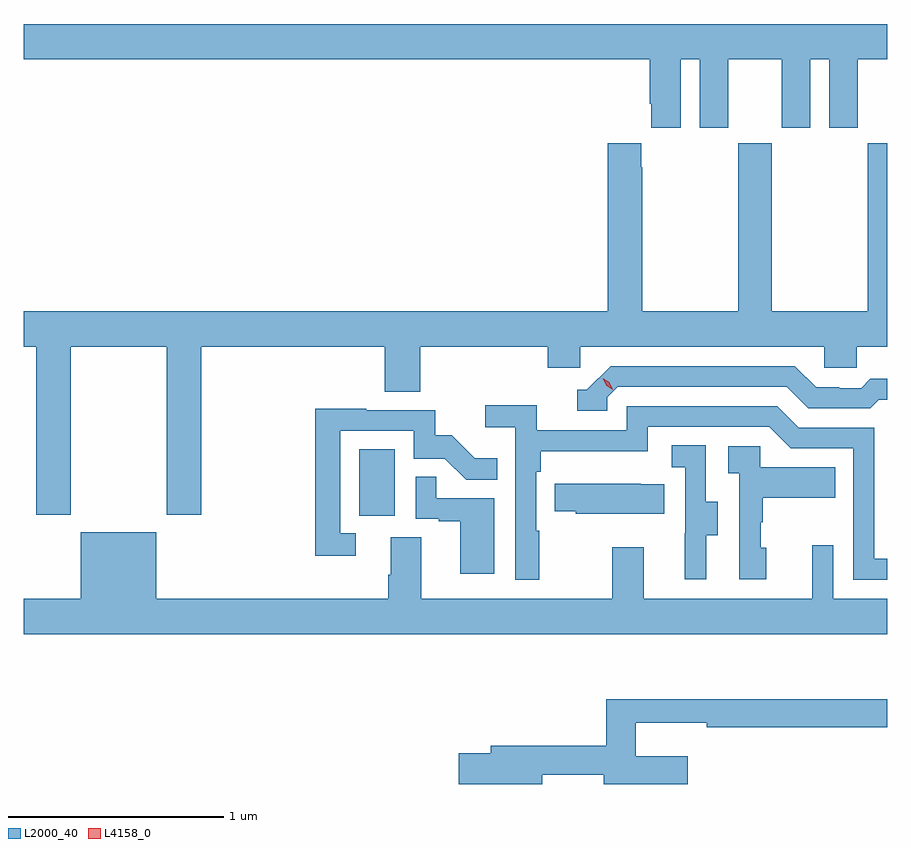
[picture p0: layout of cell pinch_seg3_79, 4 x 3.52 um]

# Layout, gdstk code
import gdstk
lib = gdstk.Library(unit=1e-6, precision=1e-09)
def R(c, l, rs):  # rectangles x0, y0, x1, y1
    for r in rs: c.add(gdstk.rectangle(r[:2], r[2:], *l))
def P(c, l, *ps):  # polygons
    for p in ps: c.add(gdstk.Polygon(p, *l))
L2000_40 = (2000, 40)
L4158_0 = (4158, 0)

pinch_seg3_79 = lib.new_cell('pinch_seg3_79')
R(pinch_seg3_79, L2000_40, [(1045.994,718.782,1046.158,719.089)])
P(pinch_seg3_79, L2000_40, [(1047.484,720.896),(1047.572,720.896),(1047.572,720.579),(1047.703,720.579),(1047.703,720.896),(1047.953,720.896),(1047.953,720.579),(1048.084,720.579),(1048.084,720.896),(1048.172,720.896),(1048.172,720.579),(1048.303,720.579),(1048.303,720.896),(1048.44,720.896),(1048.44,721.06),(1044.44,721.06),(1044.44,720.896),(1047.341,720.896),(1047.341,720.691),(1047.347,720.691),(1047.347,720.579),(1047.484,720.579)],
  [(1048.44,720.508),(1048.351,720.508),(1048.351,719.728),(1047.906,719.728),(1047.906,720.508),(1047.751,720.508),(1047.751,719.728),(1047.305,719.728),(1047.305,720.395),(1047.301,720.395),(1047.301,720.508),(1047.146,720.508),(1047.146,719.728),(1044.44,719.728),(1044.44,719.564),(1044.497,719.564),(1044.497,718.785),(1044.657,718.785),(1044.657,719.564),(1045.102,719.564),(1045.102,718.785),(1045.262,718.785),(1045.262,719.564),(1046.111,719.564),(1046.111,719.356),(1046.276,719.356),(1046.276,719.564),(1046.867,719.564),(1046.867,719.466),(1047.018,719.466),(1047.018,719.564),(1048.149,719.564),(1048.149,719.466),(1048.299,719.466),(1048.299,719.564),(1048.44,719.564)],
  [(1047.144,719.331),(1047.192,719.379),(1047.975,719.379),(1048.074,719.28),(1048.363,719.28),(1048.402,719.319),(1048.44,719.319),(1048.44,719.416),(1048.363,719.416),(1048.321,719.373),(1048.218,719.373),(1048.218,719.376),(1048.111,719.376),(1048.012,719.475),(1047.159,719.475),(1047.048,719.364),(1047.005,719.364),(1047.005,719.268),(1047.144,719.268)],
  [(1046.827,718.712),(1046.814,718.712),(1046.814,718.985),(1046.834,718.985),(1046.834,719.081),(1047.33,719.081),(1047.33,719.193),(1047.894,719.193),(1047.993,719.094),(1048.284,719.094),(1048.284,718.485),(1048.44,718.485),(1048.44,718.581),(1048.38,718.581),(1048.38,719.19),(1048.03,719.19),(1047.931,719.289),(1047.234,719.289),(1047.234,719.178),(1046.816,719.178),(1046.816,719.294),(1046.577,719.294),(1046.577,719.192),(1046.718,719.192),(1046.718,718.485),(1046.827,718.485)],
  [(1045.978,718.701),(1045.905,718.701),(1045.905,719.175),(1046.247,719.175),(1046.247,719.046),(1046.391,719.046),(1046.489,718.948),(1046.633,718.948),(1046.633,719.047),(1046.529,719.047),(1046.422,719.154),(1046.346,719.154),(1046.346,719.271),(1046.027,719.271),(1046.027,719.276),(1045.789,719.276),(1045.789,718.596),(1045.978,718.596)],
  [(1047.601,718.69),(1047.655,718.69),(1047.655,718.845),(1047.6,718.845),(1047.6,719.108),(1047.441,719.108),(1047.441,719.005),(1047.504,719.005),(1047.504,718.701),(1047.503,718.701),(1047.503,718.488),(1047.601,718.488)],
  [(1047.88,718.632),(1047.855,718.632),(1047.855,718.751),(1047.865,718.751),(1047.865,718.865),(1048.199,718.865),(1048.199,719.005),(1047.852,719.005),(1047.852,719.103),(1047.705,719.103),(1047.705,718.979),(1047.756,718.979),(1047.756,718.488),(1047.88,718.488)],
  [(1046.62,718.863),(1046.351,718.863),(1046.351,718.961),(1046.256,718.961),(1046.256,718.767),(1046.363,718.767),(1046.363,718.755),(1046.462,718.755),(1046.462,718.512),(1046.62,718.512)],
  [(1047.407,718.927),(1047.299,718.927),(1047.299,718.93),(1046.899,718.93),(1046.899,718.801),(1046.997,718.801),(1046.997,718.79),(1047.407,718.79)],
  [(1048.44,718.396),(1048.191,718.396),(1048.191,718.645),(1048.094,718.645),(1048.094,718.396),(1047.313,718.396),(1047.313,718.636),(1047.166,718.636),(1047.166,718.396),(1046.281,718.396),(1046.281,718.682),(1046.141,718.682),(1046.141,718.508),(1046.129,718.508),(1046.129,718.396),(1045.054,718.396),(1045.054,718.705),(1044.704,718.705),(1044.704,718.396),(1044.44,718.396),(1044.44,718.232),(1048.44,718.232)],
  [(1046.842,717.58),(1047.128,717.58),(1047.128,717.538),(1047.517,717.538),(1047.517,717.667),(1047.275,717.667),(1047.275,717.821),(1047.604,717.821),(1047.604,717.802),(1048.44,717.802),(1048.44,717.931),(1047.139,717.931),(1047.139,717.716),(1046.603,717.716),(1046.603,717.68),(1046.454,717.68),(1046.454,717.538),(1046.842,717.538)])
P(pinch_seg3_79, L4158_0, [(1047.169,719.366),(1047.138,719.385),(1047.122,719.418),(1047.122,719.418),(1047.122,719.418),(1047.153,719.399),(1047.169,719.366),(1047.169,719.366)])

lib.write_gds('pinch_seg3_79.gds')
